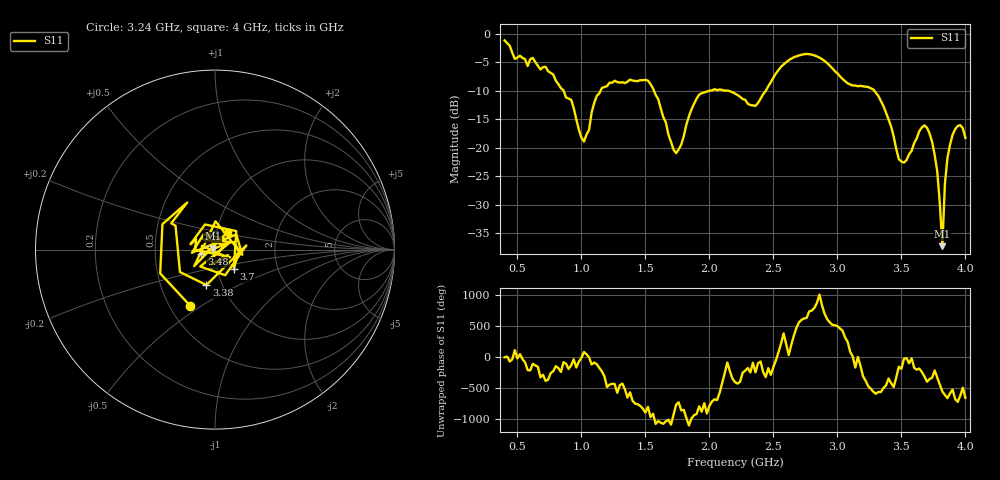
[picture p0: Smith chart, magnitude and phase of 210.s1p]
!Created with skrf (http://scikit-rf.org).
# Hz S RI R 50.0
!freq ReS11 ImS11
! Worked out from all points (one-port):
!   181 points, 400 MHz to 4 GHz, reference 50 ohm
!   lowest |S11| = -37.3 dB at 3.82 GHz (marker M1), VSWR 1.03, Z = 48.8 + j0.524 ohm
!   |S11| at or under -10 dB: 1.567 GHz to 1.996 GHz (429.1 MHz wide, 24.1 % of centre); 2.148 GHz to 2.441 GHz (293.2 MHz wide, 12.8 % of centre); 3.289 GHz to end of sweep (the widest 3 of 4)
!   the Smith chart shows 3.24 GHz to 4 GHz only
!   S11 on the Smith chart (normalised r, x): 3.24 GHz: 0.63, -0.45; 3.38 GHz: 0.84, -0.35; 3.48 GHz: 0.86, -0.04; 3.7 GHz: 1.20, -0.26; 4 GHz: 1.13, +0.23
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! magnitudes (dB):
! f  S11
! 400 MHz  -1.2
! 480 MHz  -4.4
! 620 MHz  -4.2
! 860 MHz  -9.9
! 920 MHz  -11.6
! 1.02 GHz  -18.9
! 1.12 GHz  -10.9
! 1.3 GHz  -8.6
! 1.52 GHz  -8.2
! 1.72 GHz  -20.3
! 1.76 GHz  -20.3
! 1.92 GHz  -10.7
! 2.2 GHz  -10.5
! 2.36 GHz  -12.6
! 2.66 GHz  -4.1
! 2.86 GHz  -4.2
! 3.1 GHz  -8.9
! 3.24 GHz  -9.3
! 3.38 GHz  -13.9
! 3.48 GHz  -22.0
! 3.56 GHz  -21.2
! 3.7 GHz  -16.5
! 3.78 GHz  -24.2
! 3.82 GHz  -37.3
! 3.84 GHz  -26.3
! 3.88 GHz  -19.5
! 3.94 GHz  -16.2
! 4 GHz  -18.3
